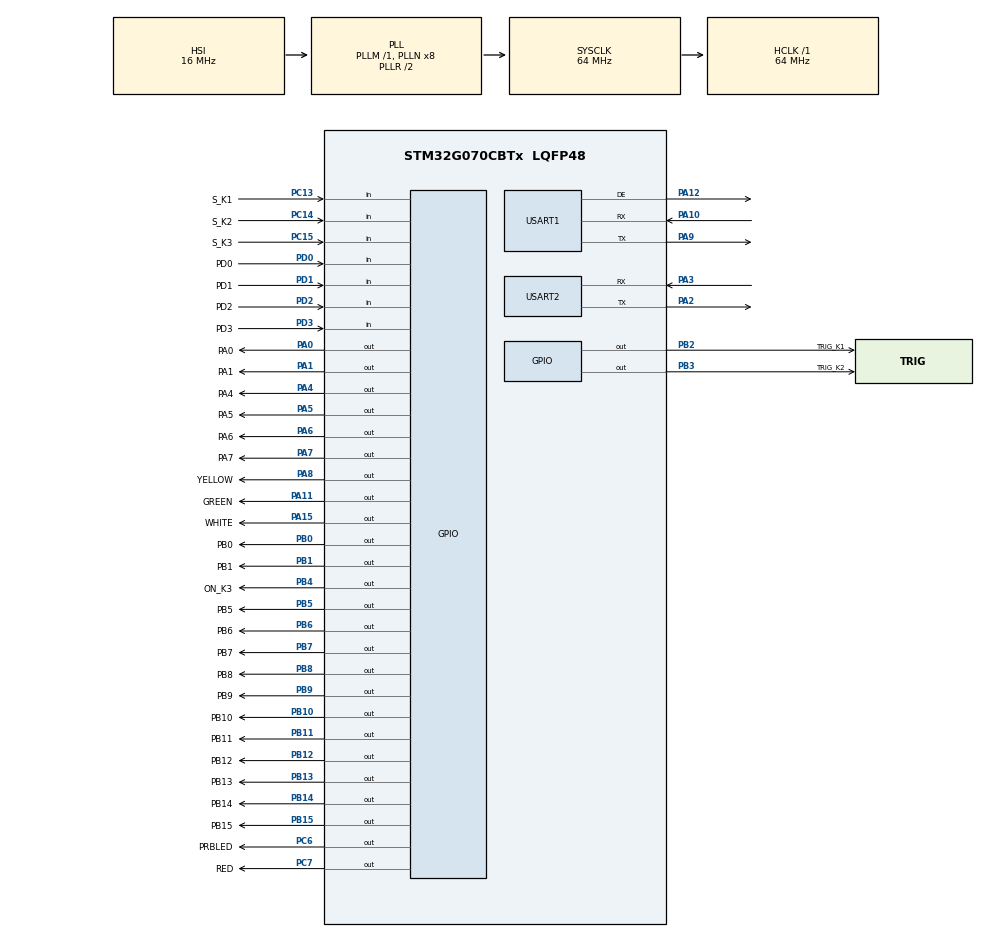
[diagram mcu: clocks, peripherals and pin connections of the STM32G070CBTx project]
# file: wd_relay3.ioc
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Mcu.Family=STM32G0
Mcu.Name=STM32G070CBTx
Mcu.Package=LQFP48
PA0.GPIO_Label=PA0
PA0.Signal=GPIO_Output
PA1.GPIO_Label=PA1
PA1.Signal=GPIO_Output
PA10.Mode=Asynchronous
PA10.Signal=USART1_RX
PA11\ [PA9].GPIO_Label=GREEN
PA11\ [PA9].Signal=GPIO_Output
PA12\ [PA10].Mode=Hardware Flow Control (RS485)
PA12\ [PA10].Signal=USART1_DE
PA13.Mode=Serial_Wire
PA13.Signal=SYS_SWDIO
PA14-BOOT0.Mode=Serial_Wire
PA14-BOOT0.Signal=SYS_SWCLK
PA15.GPIO_Label=WHITE
PA15.Signal=GPIO_Output
PA2.Mode=Asynchronous
PA2.Signal=USART2_TX
PA3.Mode=Asynchronous
PA3.Signal=USART2_RX
PA4.GPIO_Label=PA4
PA4.Signal=GPIO_Output
PA5.GPIO_Label=PA5
PA5.Signal=GPIO_Output
PA6.GPIO_Label=PA6
PA6.Signal=GPIO_Output
PA7.GPIO_Label=PA7
PA7.Signal=GPIO_Output
PA8.GPIO_Label=YELLOW
PA8.Signal=GPIO_Output
PA9.Mode=Asynchronous
PA9.Signal=USART1_TX
PB0.GPIO_Label=PB0
PB0.Signal=GPIO_Output
PB1.GPIO_Label=PB1
PB1.Signal=GPIO_Output
PB10.GPIO_Label=PB10
PB10.Signal=GPIO_Output
PB11.GPIO_Label=PB11
PB11.Signal=GPIO_Output
PB12.GPIO_Label=PB12
PB12.Signal=GPIO_Output
PB13.GPIO_Label=PB13
PB13.Signal=GPIO_Output
PB14.GPIO_Label=PB14
PB14.Signal=GPIO_Output
PB15.GPIO_Label=PB15
PB15.Signal=GPIO_Output
PB2.GPIO_Label=TRIG_K1
PB2.Signal=GPIO_Output
PB3.GPIO_Label=TRIG_K2
PB3.Signal=GPIO_Output
PB4.GPIO_Label=ON_K3
PB4.Signal=GPIO_Output
PB5.GPIO_Label=PB5
PB5.Signal=GPIO_Output
PB6.GPIO_Label=PB6
PB6.Signal=GPIO_Output
PB7.GPIO_Label=PB7
PB7.Signal=GPIO_Output
PB8.GPIO_Label=PB8
PB8.Signal=GPIO_Output
PB9.GPIO_Label=PB9
PB9.Signal=GPIO_Output
PC13.GPIO_Label=S_K1
PC13.Signal=GPIO_Input
PC14-OSC32_IN\ (PC14).GPIO_Label=S_K2
PC14-OSC32_IN\ (PC14).Signal=GPIO_Input
PC15-OSC32_OUT\ (PC15).GPIO_Label=S_K3
PC15-OSC32_OUT\ (PC15).Signal=GPIO_Input
PC6.GPIO_Label=PRBLED
PC6.Signal=GPIO_Output
PC7.GPIO_Label=RED
PC7.Signal=GPIO_Output
PD0.GPIO_Label=PD0
PD0.Signal=GPIO_Input
PD1.GPIO_Label=PD1
PD1.Signal=GPIO_Input
PD2.GPIO_Label=PD2
PD2.Signal=GPIO_Input
PD3.GPIO_Label=PD3
PD3.Signal=GPIO_Input
ProjectManager.HeapSize=0x200
ProjectManager.StackSize=0x400
ProjectManager.TargetToolchain=STM32CubeIDE
RCC.ADCFreq_Value=64000000
RCC.AHBFreq_Value=64000000
RCC.CortexFreq_Value=64000000
RCC.EXTERNAL_CLOCK_VALUE=48000
RCC.HCLKFreq_Value=64000000
RCC.HSE_VALUE=8000000
RCC.HSI_VALUE=16000000
RCC.LSE_VALUE=32768
RCC.SYSCLKFreq_VALUE=64000000
RCC.SYSCLKSource=RCC_SYSCLKSOURCE_PLLCLK
RCC.VCOOutputFreq_Value=128000000
USART1.VirtualMode-Asynchronous=VM_ASYNC
USART1.VirtualMode-Hardware\ Flow\ Control\ (RS485)=VM_ASYNC
USART2.VirtualMode-Asynchronous=VM_ASYNC
VP_SYS_VS_DBSignals.Mode=DisableDeadBatterySignals
board=custom

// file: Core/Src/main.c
/* USER CODE BEGIN Header */
/**
  ******************************************************************************
  * @file           : main.c
  * @brief          : Main program body
  ******************************************************************************
  * @attention
  *
  * Copyright (c) 2023 STMicroelectronics.
  * All rights reserved.
  *
  * This software is licensed under terms that can be found in the LICENSE file
  * in the root directory of this software component.
  * If no LICENSE file comes with this software, it is provided AS-IS.
  *
  ******************************************************************************
  */
/* USER CODE END Header */
#include "main.h"

/* USER CODE BEGIN Includes */
#include "stdio.h"
/* USER CODE END Includes */

UART_HandleTypeDef huart1;
UART_HandleTypeDef huart2;

/* USER CODE BEGIN PV */
int length,pcycles;
char tx_buffer[100];
/* USER CODE END PV */

void SystemClock_Config(void);
static void MX_GPIO_Init(void);
static void MX_USART1_UART_Init(void);
static void MX_USART2_UART_Init(void);

int main(void)
{

  /* MCU Configuration--------------------------------------------------------*/

  /* Reset of all peripherals, Initializes the Flash interface and the Systick. */
  HAL_Init();

  /* Configure the system clock */
  SystemClock_Config();

  /* Initialize all configured peripherals */
  MX_GPIO_Init();
  MX_USART1_UART_Init();
  MX_USART2_UART_Init();

  /* Infinite loop */
  /* USER CODE BEGIN WHILE */
  while (1)
  {
	  HAL_GPIO_WritePin(RED_GPIO_Port, RED_Pin, GPIO_PIN_SET);
	  HAL_Delay(500);
	  HAL_GPIO_WritePin(PRBLED_GPIO_Port, PRBLED_Pin, GPIO_PIN_SET);
	  HAL_Delay(500);
	  HAL_GPIO_WritePin(WHITE_GPIO_Port, WHITE_Pin, GPIO_PIN_SET);
	  HAL_Delay(500);
	  HAL_GPIO_WritePin(YELLOW_GPIO_Port, YELLOW_Pin, GPIO_PIN_SET);
	  HAL_Delay(500);
	  HAL_GPIO_WritePin(GREEN_GPIO_Port, GREEN_Pin, GPIO_PIN_SET);
	  HAL_Delay(500);
	  HAL_GPIO_WritePin(TRIG_K1_GPIO_Port, TRIG_K1_Pin, GPIO_PIN_SET);
	  HAL_Delay(500);
	  HAL_GPIO_WritePin(TRIG_K2_GPIO_Port, TRIG_K2_Pin, GPIO_PIN_SET);
	  HAL_Delay(500);
	  HAL_GPIO_WritePin(ON_K3_GPIO_Port, ON_K3_Pin, GPIO_PIN_SET);
	  HAL_Delay(500);
	  HAL_GPIO_WritePin(RED_GPIO_Port, RED_Pin, GPIO_PIN_RESET);
	  HAL_Delay(500);
	  HAL_GPIO_WritePin(PRBLED_GPIO_Port, PRBLED_Pin, GPIO_PIN_RESET);
	  HAL_Delay(500);
	  HAL_GPIO_WritePin(GREEN_GPIO_Port, GREEN_Pin, GPIO_PIN_RESET);
	  HAL_Delay(500);
	  HAL_GPIO_WritePin(WHITE_GPIO_Port, WHITE_Pin, GPIO_PIN_RESET);
	  HAL_Delay(500);
	  HAL_GPIO_WritePin(YELLOW_GPIO_Port, YELLOW_Pin, GPIO_PIN_RESET);
	  HAL_Delay(500);
	  HAL_GPIO_WritePin(TRIG_K1_GPIO_Port, TRIG_K1_Pin, GPIO_PIN_RESET);
	  HAL_Delay(500);
	  HAL_GPIO_WritePin(TRIG_K2_GPIO_Port, TRIG_K2_Pin, GPIO_PIN_RESET);
	  HAL_Delay(500);
	  HAL_GPIO_WritePin(ON_K3_GPIO_Port, ON_K3_Pin, GPIO_PIN_RESET);
	  HAL_Delay(500);
		length=sprintf(tx_buffer,"Motto power cycles since tester power up: %06d \n\r", pcycles++);
		HAL_UART_Transmit(&huart1, (uint8_t*)tx_buffer, length, 20);

	  /* USER CODE END WHILE */

  }
}

void SystemClock_Config(void)
{
  RCC_OscInitTypeDef RCC_OscInitStruct = {0};
  RCC_ClkInitTypeDef RCC_ClkInitStruct = {0};

  /** Configure the main internal regulator output voltage
  */
  HAL_PWREx_ControlVoltageScaling(PWR_REGULATOR_VOLTAGE_SCALE1);

  /** Initializes the RCC Oscillators according to the specified parameters
  * in the RCC_OscInitTypeDef structure.
  */
  RCC_OscInitStruct.OscillatorType = RCC_OSCILLATORTYPE_HSI;
  RCC_OscInitStruct.HSIState = RCC_HSI_ON;
  RCC_OscInitStruct.HSIDiv = RCC_HSI_DIV1;
  RCC_OscInitStruct.HSICalibrationValue = RCC_HSICALIBRATION_DEFAULT;
  RCC_OscInitStruct.PLL.PLLState = RCC_PLL_ON;
  RCC_OscInitStruct.PLL.PLLSource = RCC_PLLSOURCE_HSI;
  RCC_OscInitStruct.PLL.PLLM = RCC_PLLM_DIV1;
  RCC_OscInitStruct.PLL.PLLN = 8;
  RCC_OscInitStruct.PLL.PLLP = RCC_PLLP_DIV2;
  RCC_OscInitStruct.PLL.PLLR = RCC_PLLR_DIV2;
  if (HAL_RCC_OscConfig(&RCC_OscInitStruct) != HAL_OK)
  {
    Error_Handler();
  }

  /** Initializes the CPU, AHB and APB buses clocks
  */
  RCC_ClkInitStruct.ClockType = RCC_CLOCKTYPE_HCLK|RCC_CLOCKTYPE_SYSCLK
                              |RCC_CLOCKTYPE_PCLK1;
  RCC_ClkInitStruct.SYSCLKSource = RCC_SYSCLKSOURCE_PLLCLK;
  RCC_ClkInitStruct.AHBCLKDivider = RCC_SYSCLK_DIV1;
  RCC_ClkInitStruct.APB1CLKDivider = RCC_HCLK_DIV1;

  if (HAL_RCC_ClockConfig(&RCC_ClkInitStruct, FLASH_LATENCY_2) != HAL_OK)
  {
    Error_Handler();
  }
}

static void MX_USART1_UART_Init(void)
{

  huart1.Instance = USART1;
  huart1.Init.BaudRate = 115200;
  huart1.Init.WordLength = UART_WORDLENGTH_8B;
  huart1.Init.StopBits = UART_STOPBITS_1;
  huart1.Init.Parity = UART_PARITY_NONE;
  huart1.Init.Mode = UART_MODE_TX_RX;
  huart1.Init.HwFlowCtl = UART_HWCONTROL_NONE;
  huart1.Init.OverSampling = UART_OVERSAMPLING_16;
  huart1.Init.OneBitSampling = UART_ONE_BIT_SAMPLE_DISABLE;
  huart1.Init.ClockPrescaler = UART_PRESCALER_DIV1;
  huart1.AdvancedInit.AdvFeatureInit = UART_ADVFEATURE_NO_INIT;
  if (HAL_RS485Ex_Init(&huart1, UART_DE_POLARITY_HIGH, 0, 0) != HAL_OK)
  {
    Error_Handler();
  }
  if (HAL_UARTEx_SetTxFifoThreshold(&huart1, UART_TXFIFO_THRESHOLD_1_8) != HAL_OK)
  {
    Error_Handler();
  }
  if (HAL_UARTEx_SetRxFifoThreshold(&huart1, UART_RXFIFO_THRESHOLD_1_8) != HAL_OK)
  {
    Error_Handler();
  }
  if (HAL_UARTEx_DisableFifoMode(&huart1) != HAL_OK)
  {
    Error_Handler();
  }

}

static void MX_USART2_UART_Init(void)
{

  huart2.Instance = USART2;
  huart2.Init.BaudRate = 115200;
  huart2.Init.WordLength = UART_WORDLENGTH_8B;
  huart2.Init.StopBits = UART_STOPBITS_1;
  huart2.Init.Parity = UART_PARITY_NONE;
  huart2.Init.Mode = UART_MODE_TX_RX;
  huart2.Init.HwFlowCtl = UART_HWCONTROL_NONE;
  huart2.Init.OverSampling = UART_OVERSAMPLING_16;
  huart2.Init.OneBitSampling = UART_ONE_BIT_SAMPLE_DISABLE;
  huart2.Init.ClockPrescaler = UART_PRESCALER_DIV1;
  huart2.AdvancedInit.AdvFeatureInit = UART_ADVFEATURE_NO_INIT;
  if (HAL_UART_Init(&huart2) != HAL_OK)
  {
    Error_Handler();
  }
  if (HAL_UARTEx_SetTxFifoThreshold(&huart2, UART_TXFIFO_THRESHOLD_1_8) != HAL_OK)
  {
    Error_Handler();
  }
  if (HAL_UARTEx_SetRxFifoThreshold(&huart2, UART_RXFIFO_THRESHOLD_1_8) != HAL_OK)
  {
    Error_Handler();
  }
  if (HAL_UARTEx_DisableFifoMode(&huart2) != HAL_OK)
  {
    Error_Handler();
  }

}

static void MX_GPIO_Init(void)
{
  GPIO_InitTypeDef GPIO_InitStruct = {0};

  /* GPIO Ports Clock Enable */
  __HAL_RCC_GPIOC_CLK_ENABLE();
  __HAL_RCC_GPIOA_CLK_ENABLE();
  __HAL_RCC_GPIOB_CLK_ENABLE();
  __HAL_RCC_GPIOD_CLK_ENABLE();

  /*Configure GPIO pin Output Level */
  HAL_GPIO_WritePin(GPIOA, PA0_Pin|PA1_Pin|PA4_Pin|PA5_Pin
                          |PA6_Pin|PA7_Pin|YELLOW_Pin|GREEN_Pin
                          |WHITE_Pin, GPIO_PIN_RESET);

  /*Configure GPIO pin Output Level */
  HAL_GPIO_WritePin(GPIOB, PB0_Pin|PB1_Pin|TRIG_K1_Pin|PB10_Pin
                          |PB11_Pin|PB12_Pin|PB13_Pin|PB14_Pin
                          |PB15_Pin|TRIG_K2_Pin|ON_K3_Pin|PB5_Pin
                          |PB6_Pin|PB7_Pin|PB8_Pin|PB9_Pin, GPIO_PIN_RESET);

  /*Configure GPIO pin Output Level */
  HAL_GPIO_WritePin(GPIOC, PRBLED_Pin|RED_Pin, GPIO_PIN_RESET);

  /*Configure GPIO pins : S_K1_Pin S_K2_Pin S_K3_Pin */
  GPIO_InitStruct.Pin = S_K1_Pin|S_K2_Pin|S_K3_Pin;
  GPIO_InitStruct.Mode = GPIO_MODE_INPUT;
  GPIO_InitStruct.Pull = GPIO_NOPULL;
  HAL_GPIO_Init(GPIOC, &GPIO_InitStruct);

  /*Configure GPIO pins : PA0_Pin PA1_Pin PA4_Pin PA5_Pin
                           PA6_Pin PA7_Pin YELLOW_Pin GREEN_Pin
                           WHITE_Pin */
  GPIO_InitStruct.Pin = PA0_Pin|PA1_Pin|PA4_Pin|PA5_Pin
                          |PA6_Pin|PA7_Pin|YELLOW_Pin|GREEN_Pin
                          |WHITE_Pin;
  GPIO_InitStruct.Mode = GPIO_MODE_OUTPUT_PP;
  GPIO_InitStruct.Pull = GPIO_NOPULL;
  GPIO_InitStruct.Speed = GPIO_SPEED_FREQ_LOW;
  HAL_GPIO_Init(GPIOA, &GPIO_InitStruct);

  /*Configure GPIO pins : PB0_Pin PB1_Pin TRIG_K1_Pin PB10_Pin
                           PB11_Pin PB12_Pin PB13_Pin PB14_Pin
                           PB15_Pin TRIG_K2_Pin ON_K3_Pin PB5_Pin
                           PB6_Pin PB7_Pin PB8_Pin PB9_Pin */
  GPIO_InitStruct.Pin = PB0_Pin|PB1_Pin|TRIG_K1_Pin|PB10_Pin
                          |PB11_Pin|PB12_Pin|PB13_Pin|PB14_Pin
                          |PB15_Pin|TRIG_K2_Pin|ON_K3_Pin|PB5_Pin
                          |PB6_Pin|PB7_Pin|PB8_Pin|PB9_Pin;
  GPIO_InitStruct.Mode = GPIO_MODE_OUTPUT_PP;
  GPIO_InitStruct.Pull = GPIO_NOPULL;
  GPIO_InitStruct.Speed = GPIO_SPEED_FREQ_LOW;
  HAL_GPIO_Init(GPIOB, &GPIO_InitStruct);

  /*Configure GPIO pins : PRBLED_Pin RED_Pin */
  GPIO_InitStruct.Pin = PRBLED_Pin|RED_Pin;
  GPIO_InitStruct.Mode = GPIO_MODE_OUTPUT_PP;
  GPIO_InitStruct.Pull = GPIO_NOPULL;
  GPIO_InitStruct.Speed = GPIO_SPEED_FREQ_LOW;
  HAL_GPIO_Init(GPIOC, &GPIO_InitStruct);

  /*Configure GPIO pins : PD0_Pin PD1_Pin PD2_Pin PD3_Pin */
  GPIO_InitStruct.Pin = PD0_Pin|PD1_Pin|PD2_Pin|PD3_Pin;
  GPIO_InitStruct.Mode = GPIO_MODE_INPUT;
  GPIO_InitStruct.Pull = GPIO_NOPULL;
  HAL_GPIO_Init(GPIOD, &GPIO_InitStruct);

}

void Error_Handler(void)
{
  __disable_irq();
  while (1)
  {
  }
}
